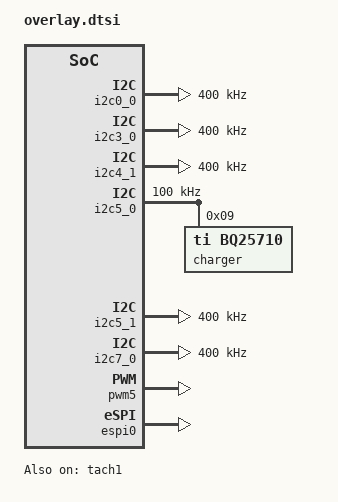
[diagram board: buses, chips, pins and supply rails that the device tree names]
/* Copyright 2025 The ChromiumOS Authors
 * Use of this source code is governed by a BSD-style license that can be
 * found in the LICENSE file.
 */

/* Set bus speeds for I2C */

&i2c0_0 {
	label = "I2C_SENSOR";
	clock-frequency = <I2C_BITRATE_FAST>;
};

&i2c3_0 {
	label = "I2C_SENSOR";
	clock-frequency = <I2C_BITRATE_FAST>;
};

&i2c4_1 {
	label = "I2C_IMVP";
	clock-frequency = <I2C_BITRATE_FAST>;
};

&i2c5_0 {
	label = "I2C_BATTERY";
	label = "I2C_PORT_CHARGER";

	clock-frequency = <I2C_BITRATE_STANDARD>;
	charger: bq25710@9 {
		compatible = "ti,bq25710";
		status = "okay";
		reg = <0x9>;
	};
};

&i2c5_1 {
	label = "I2C_MCU";
	clock-frequency = <I2C_BITRATE_FAST>;
};

&i2c7_0 {
	label = "I2C_SPARE";
	clock-frequency = <I2C_BITRATE_FAST>;
};


/* Tachometer for fan speed measurement */
&tach1 {
	status = "okay";
	pinctrl-0 = <&ta1_1_in_gp40>;
	pinctrl-names = "default";
	port = <NPCX_TACH_PORT_A>; /* port-A is selected */
	sample-clk = <NPCX_TACH_FREQ_LFCLK>; /* Use LFCLK as sampling clock */
	pulses-per-round = <2>; /* number of pulses per round of encoder */
};

&pwm5_gpb7 {
	drive-open-drain;
};

&pwm5 {
	status = "okay";
	pinctrl-0 = <&pwm5_gpb7>;
	pinctrl-names = "default";
};

/* host interface */
&espi0 {
	status = "okay";
	pinctrl-0 = <&espi_lpc_gp46_47_51_52_53_54_55_57>;
	pinctrl-names = "default";
};

/*
 * Declare GPIOs that have leakage current caused by board issues here. NPCX ec
 * will disable their input buffers before entering deep sleep and restore them
 * after waking up automatically for better power consumption.
 */
&power_leakage_io {
	leak-gpios = <&gpio5 7 (GPIO_OUTPUT | GPIO_VOLTAGE_1P8)
		      &gpio6 6 GPIO_OPEN_DRAIN>;
};
